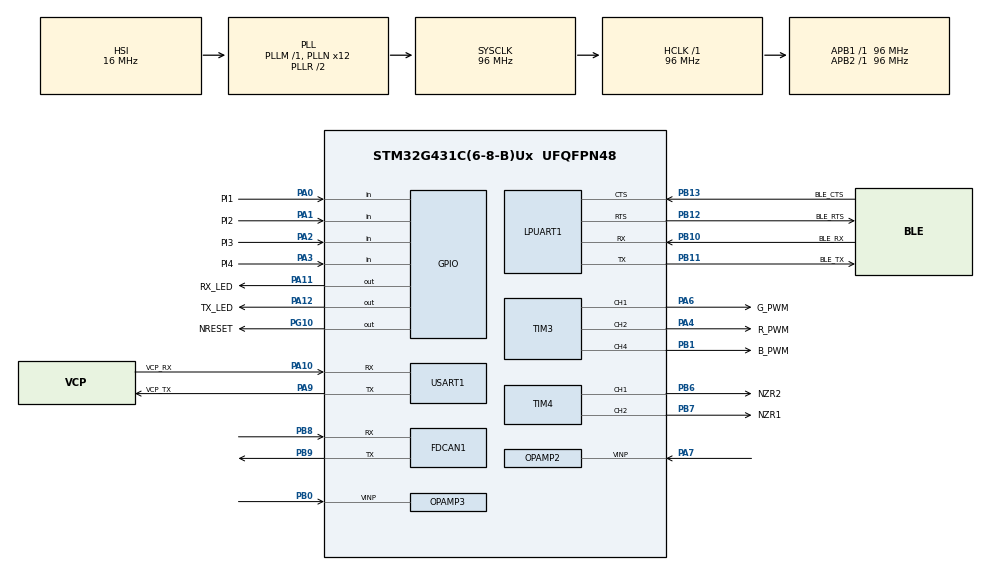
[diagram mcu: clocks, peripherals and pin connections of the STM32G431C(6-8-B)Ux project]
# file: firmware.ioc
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ADC2.Channel-0\#ChannelRegularConversion=ADC_CHANNEL_VOPAMP2
ADC2.NbrOfConversionFlag=1
ADC2.OffsetNumber-0\#ChannelRegularConversion=ADC_OFFSET_NONE
ADC2.Rank-0\#ChannelRegularConversion=1
ADC2.SamplingTime-0\#ChannelRegularConversion=ADC_SAMPLETIME_2CYCLES_5
Mcu.Family=STM32G4
Mcu.Name=STM32G431C(6-8-B)Ux
Mcu.Package=UFQFPN48
NVIC.PriorityGroup=NVIC_PRIORITYGROUP_4
NVIC.TIM1_UP_TIM16_IRQn=true\:0\:0\:false\:false\:true\:false\:true\:true
NVIC.TimeBase=TIM1_UP_TIM16_IRQn
NVIC.TimeBaseIP=TIM1
PA0.GPIO_Label=PI1
PA0.Signal=GPIO_Input
PA1.GPIO_Label=PI2
PA1.Signal=GPIO_Input
PA10.GPIO_Label=VCP_RX
PA10.Mode=Asynchronous
PA10.Signal=USART1_RX
PA11.GPIO_Label=RX_LED
PA11.Signal=GPIO_Output
PA12.GPIO_Label=TX_LED
PA12.Signal=GPIO_Output
PA13.Mode=JTAG_5_pins
PA13.Signal=SYS_JTMS-SWDIO
PA14.Mode=JTAG_5_pins
PA14.Signal=SYS_JTCK-SWCLK
PA15.Mode=JTAG_5_pins
PA15.Signal=SYS_JTDI
PA2.GPIO_Label=PI3
PA2.Signal=GPIO_Input
PA3.GPIO_Label=PI4
PA3.Signal=GPIO_Input
PA4.GPIO_Label=R_PWM
PA4.Signal=S_TIM3_CH2
PA6.GPIO_Label=G_PWM
PA6.Signal=S_TIM3_CH1
PA7.Mode=Follower_Internally_Connected
PA7.Signal=OPAMP2_VINP
PA9.GPIO_Label=VCP_TX
PA9.Mode=Asynchronous
PA9.Signal=USART1_TX
PB0.Mode=Follower_Internally_Connected
PB0.Signal=OPAMP3_VINP
PB1.GPIO_Label=B_PWM
PB1.Signal=S_TIM3_CH4
PB10.GPIO_Label=BLE_RX
PB10.Mode=Asynchronous
PB10.Signal=LPUART1_RX
PB11.GPIO_Label=BLE_TX
PB11.Mode=Asynchronous
PB11.Signal=LPUART1_TX
PB12.GPIO_Label=BLE_RTS
PB12.Mode=CTS_RTS
PB12.Signal=LPUART1_RTS
PB13.GPIO_Label=BLE_CTS
PB13.Mode=CTS_RTS
PB13.Signal=LPUART1_CTS
PB3.Mode=JTAG_5_pins
PB3.Signal=SYS_JTDO-SWO
PB4.Mode=JTAG_5_pins
PB4.Signal=SYS_JTRST
PB6.GPIO_Label=NZR2
PB6.Signal=S_TIM4_CH1
PB7.GPIO_Label=NZR1
PB7.Signal=S_TIM4_CH2
PB8-BOOT0.Mode=FDCAN_Activate
PB8-BOOT0.Signal=FDCAN1_RX
PB9.Mode=FDCAN_Activate
PB9.Signal=FDCAN1_TX
PC14-OSC32_IN.Mode=LSE-External-Oscillator
PC14-OSC32_IN.Signal=RCC_OSC32_IN
PC15-OSC32_OUT.Mode=LSE-External-Oscillator
PC15-OSC32_OUT.Signal=RCC_OSC32_OUT
PF0-OSC_IN.Mode=HSE-External-Oscillator
PF0-OSC_IN.Signal=RCC_OSC_IN
PF1-OSC_OUT.Mode=HSE-External-Oscillator
PF1-OSC_OUT.Signal=RCC_OSC_OUT
PG10-NRST.GPIO_Label=NRESET
PG10-NRST.Signal=GPIO_Output
ProjectManager.HeapSize=0x200
ProjectManager.StackSize=0x400
ProjectManager.TargetToolchain=Makefile
RCC.ADC12Freq_Value=96000000
RCC.AHBFreq_Value=96000000
RCC.APB1Freq_Value=96000000
RCC.APB1TimFreq_Value=96000000
RCC.APB2Freq_Value=96000000
RCC.APB2TimFreq_Value=96000000
RCC.CortexFreq_Value=96000000
RCC.EXTERNAL_CLOCK_VALUE=12288000
RCC.HCLKFreq_Value=96000000
RCC.HSE_VALUE=32000000
RCC.HSI48_VALUE=48000000
RCC.HSI_VALUE=16000000
RCC.PLLN=12
RCC.PLLQ=RCC_PLLQ_DIV4
RCC.SYSCLKFreq_VALUE=96000000
RCC.SYSCLKSource=RCC_SYSCLKSOURCE_PLLCLK
RCC.USBFreq_Value=48000000
RCC.VCOOutputFreq_Value=192000000
SH.S_TIM3_CH1.0=TIM3_CH1,PWM Generation1 CH1
SH.S_TIM3_CH2.0=TIM3_CH2,PWM Generation2 CH2
SH.S_TIM3_CH4.0=TIM3_CH4,PWM Generation4 CH4
SH.S_TIM4_CH1.0=TIM4_CH1,PWM Generation1 CH1
SH.S_TIM4_CH2.0=TIM4_CH2,PWM Generation2 CH2
TIM3.Channel-PWM\ Generation1\ CH1=TIM_CHANNEL_1
TIM3.Channel-PWM\ Generation2\ CH2=TIM_CHANNEL_2
TIM3.Channel-PWM\ Generation4\ CH4=TIM_CHANNEL_4
TIM4.Channel-PWM\ Generation1\ CH1=TIM_CHANNEL_1
TIM4.Channel-PWM\ Generation2\ CH2=TIM_CHANNEL_2
USART1.VirtualMode-Asynchronous=VM_ASYNC
VP_ADC2_OPAMP_INTERNAL2.Mode=IN-OPAMP2
VP_ADC2_OPAMP_INTERNAL3.Mode=IN-OPAMP3
VP_SYS_VS_DBSignals.Mode=DisableDeadBatterySignals
VP_SYS_VS_tim1.Mode=TIM1
board=custom

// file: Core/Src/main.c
/* USER CODE BEGIN Header */
/**
  ******************************************************************************
  * @file           : main.c
  * @brief          : Main program body
  ******************************************************************************
  * @attention
  *
  * <h2><center>&copy; Copyright (c) 2023 STMicroelectronics.
  * All rights reserved.</center></h2>
  *
  * This software component is licensed by ST under BSD 3-Clause license,
  * the "License"; You may not use this file except in compliance with the
  * License. You may obtain a copy of the License at:
  *                        opensource.org/licenses/BSD-3-Clause
  *
  ******************************************************************************
  */
/* USER CODE END Header */
#include "main.h"

/* USER CODE BEGIN Includes */
// #include "port.h"
/* USER CODE END Includes */

ADC_HandleTypeDef hadc2;

FDCAN_HandleTypeDef hfdcan1;

UART_HandleTypeDef hlpuart1;
UART_HandleTypeDef huart1;

OPAMP_HandleTypeDef hopamp2;
OPAMP_HandleTypeDef hopamp3;

TIM_HandleTypeDef htim3;
TIM_HandleTypeDef htim4;

/* USER CODE BEGIN PV */
void btstack_port(void);
/* USER CODE END PV */

void SystemClock_Config(void);
static void MX_GPIO_Init(void);
static void MX_FDCAN1_Init(void);
static void MX_LPUART1_UART_Init(void);
static void MX_USART1_UART_Init(void);
static void MX_TIM3_Init(void);
static void MX_ADC2_Init(void);
static void MX_OPAMP2_Init(void);
static void MX_OPAMP3_Init(void);
static void MX_TIM4_Init(void);

/* USER CODE BEGIN 0 */

#define RGB_LEN (24 * 10)
#define numberofpixels 10
#define bytesperpixel 3
#define bitHightimercount 58
#define bitLowtimercount 22

// #define bitHightimercount 120
// #define bitLowtimercount 30

uint32_t loadArrayOnePixel(uint8_t R, uint8_t G, uint8_t B,
		uint8_t *buffer, //address of our buffer
		uint8_t pixelnumber //pixel index inside buffer
		) {
	if(pixelnumber>numberofpixels){return -1;}//in case we mess up

	for (uint32_t i = 0; i < bytesperpixel * 8; ++i) { //we need to store every bit

		if (i < 8) { //this means first byte R
			if (R & (0x80 >> i)) { //this is a mask for reading every bit inside the byte R
				buffer[i + pixelnumber * bytesperpixel * 8] = bitHightimercount;
			} else {
				buffer[i + pixelnumber * bytesperpixel * 8] = bitLowtimercount;
			}
		}

		if ((i >= 8) & (i < 16)) { //this means second byte G
			if (G & (0x80 >> (i - 8))) {
				buffer[i + pixelnumber * bytesperpixel * 8] = bitHightimercount;
			} else {
				buffer[i + pixelnumber * bytesperpixel * 8] = bitLowtimercount;
			}
		}

		if ((i >= 16) & (i < 24)) { //this means third byte B
			if (B & (0x80 >> (i - 16))) {
				buffer[i + pixelnumber * bytesperpixel * 8] = bitHightimercount;
			} else {
				buffer[i + pixelnumber * bytesperpixel * 8] = bitLowtimercount;
			}
		}

	}
	return 1;
}

/* USER CODE END 0 */

int main(void)
{

  /* MCU Configuration--------------------------------------------------------*/

  /* Reset of all peripherals, Initializes the Flash interface and the Systick. */
  HAL_Init();

  /* Configure the system clock */
  SystemClock_Config();

  /* Initialize all configured peripherals */
  MX_GPIO_Init();
  MX_FDCAN1_Init();
  MX_LPUART1_UART_Init();
  MX_USART1_UART_Init();
  MX_TIM3_Init();
  MX_ADC2_Init();
  MX_OPAMP2_Init();
  MX_OPAMP3_Init();
  MX_TIM4_Init();
  /* USER CODE BEGIN 2 */
  // TIM3->CCR1=77; // 64%
  // TIM3->CCR1=38; // 32%
  /*
  uint8_t rgb[RGB_LEN+1] = {
    // 1
    58, 58, 58, 58, 58, 58, 58, 58,
    22, 22, 22, 22, 22, 22, 22, 22,
    22, 22, 22, 22, 22, 22, 22, 22,
    // 2
    22, 22, 22, 22, 22, 22, 22, 22,
    58, 58, 58, 58, 58, 58, 58, 58,
    22, 22, 22, 22, 22, 22, 22, 22,
    // 3
    22, 22, 22, 22, 22, 22, 22, 22,
    22, 22, 22, 22, 22, 22, 22, 22,
    58, 58, 58, 58, 58, 58, 58, 58,
    // 4
    58, 58, 58, 58, 58, 58, 58, 58,
    22, 22, 22, 22, 22, 22, 22, 22,
    22, 22, 22, 22, 22, 22, 22, 22,
    // 5
    22, 22, 22, 22, 22, 22, 22, 22,
    58, 58, 58, 58, 58, 58, 58, 58,
    22, 22, 22, 22, 22, 22, 22, 22,
    // 6
    22, 22, 22, 22, 22, 22, 22, 22,
    22, 22, 22, 22, 22, 22, 22, 22,
    58, 58, 58, 58, 58, 58, 58, 58,
    // 7
    58, 58, 58, 58, 58, 58, 58, 58,
    22, 22, 22, 22, 22, 22, 22, 22,
    22, 22, 22, 22, 22, 22, 22, 22,
    // 8
    22, 22, 22, 22, 22, 22, 22, 22,
    58, 58, 58, 58, 58, 58, 58, 58,
    22, 22, 22, 22, 22, 22, 22, 22,
    // 9
    22, 22, 22, 22, 22, 22, 22, 22,
    22, 22, 22, 22, 22, 22, 22, 22,
    58, 58, 58, 58, 58, 58, 58, 58,
    // 10
    58, 58, 58, 58, 58, 58, 58, 58,
    22, 22, 22, 22, 22, 22, 22, 22,
    22, 22, 22, 22, 22, 22, 22, 22,
    0
  };
  */
  uint8_t rgb[RGB_LEN + 1] = {0};
  for(int i = 0; i < RGB_LEN; i++) {
    rgb[i] = bitHightimercount;
  }
  rgb[RGB_LEN] = 0;
  // for (int i = 0; i < numberofpixels; ++i) {
  //     loadArrayOnePixel(0,0,255, &rgb, i);
  // }

	uint8_t counter=0;
	uint8_t flag=0;

  while(1) {
    HAL_TIM_PWM_Stop_DMA(&htim3, TIM_CHANNEL_1);
    for (int i = 0; i < numberofpixels; ++i) {
        loadArrayOnePixel(counter,0,counter, &rgb, i);
    }
    HAL_TIM_PWM_Start_DMA(&htim3, TIM_CHANNEL_1, rgb, sizeof(uint8_t) * RGB_LEN+1);

		if(counter==0xFF){flag=0;}

		if(counter==0x00){flag=1;}

		if(flag){
			counter++;
		}else{
			counter--;
		}

    HAL_Delay(10);
  }
  // port_main();
  entry();

  /* USER CODE END 2 */

  /* Infinite loop */
  while (1)
  {

  }
}

void SystemClock_Config(void)
{
  RCC_OscInitTypeDef RCC_OscInitStruct = {0};
  RCC_ClkInitTypeDef RCC_ClkInitStruct = {0};
  RCC_PeriphCLKInitTypeDef PeriphClkInit = {0};

  /** Configure the main internal regulator output voltage
  */
  HAL_PWREx_ControlVoltageScaling(PWR_REGULATOR_VOLTAGE_SCALE1);
  /** Initializes the RCC Oscillators according to the specified parameters
  * in the RCC_OscInitTypeDef structure.
  */
  RCC_OscInitStruct.OscillatorType = RCC_OSCILLATORTYPE_HSI;
  RCC_OscInitStruct.HSIState = RCC_HSI_ON;
  RCC_OscInitStruct.HSICalibrationValue = RCC_HSICALIBRATION_DEFAULT;
  RCC_OscInitStruct.PLL.PLLState = RCC_PLL_ON;
  RCC_OscInitStruct.PLL.PLLSource = RCC_PLLSOURCE_HSI;
  RCC_OscInitStruct.PLL.PLLM = RCC_PLLM_DIV1;
  RCC_OscInitStruct.PLL.PLLN = 12;
  RCC_OscInitStruct.PLL.PLLP = RCC_PLLP_DIV2;
  RCC_OscInitStruct.PLL.PLLQ = RCC_PLLQ_DIV4;
  RCC_OscInitStruct.PLL.PLLR = RCC_PLLR_DIV2;
  if (HAL_RCC_OscConfig(&RCC_OscInitStruct) != HAL_OK)
  {
    Error_Handler();
  }
  /** Initializes the CPU, AHB and APB buses clocks
  */
  RCC_ClkInitStruct.ClockType = RCC_CLOCKTYPE_HCLK|RCC_CLOCKTYPE_SYSCLK
                              |RCC_CLOCKTYPE_PCLK1|RCC_CLOCKTYPE_PCLK2;
  RCC_ClkInitStruct.SYSCLKSource = RCC_SYSCLKSOURCE_PLLCLK;
  RCC_ClkInitStruct.AHBCLKDivider = RCC_SYSCLK_DIV1;
  RCC_ClkInitStruct.APB1CLKDivider = RCC_HCLK_DIV1;
  RCC_ClkInitStruct.APB2CLKDivider = RCC_HCLK_DIV1;

  if (HAL_RCC_ClockConfig(&RCC_ClkInitStruct, FLASH_LATENCY_2) != HAL_OK)
  {
    Error_Handler();
  }
  /** Initializes the peripherals clocks
  */
  PeriphClkInit.PeriphClockSelection = RCC_PERIPHCLK_USART1|RCC_PERIPHCLK_LPUART1
                              |RCC_PERIPHCLK_ADC12|RCC_PERIPHCLK_FDCAN;
  PeriphClkInit.Usart1ClockSelection = RCC_USART1CLKSOURCE_PCLK2;
  PeriphClkInit.Lpuart1ClockSelection = RCC_LPUART1CLKSOURCE_PCLK1;
  PeriphClkInit.FdcanClockSelection = RCC_FDCANCLKSOURCE_PCLK1;
  PeriphClkInit.Adc12ClockSelection = RCC_ADC12CLKSOURCE_SYSCLK;
  if (HAL_RCCEx_PeriphCLKConfig(&PeriphClkInit) != HAL_OK)
  {
    Error_Handler();
  }
}

static void MX_ADC2_Init(void)
{

  ADC_ChannelConfTypeDef sConfig = {0};

  /** Common config
  */
  hadc2.Instance = ADC2;
  hadc2.Init.ClockPrescaler = ADC_CLOCK_SYNC_PCLK_DIV2;
  hadc2.Init.Resolution = ADC_RESOLUTION_12B;
  hadc2.Init.DataAlign = ADC_DATAALIGN_RIGHT;
  hadc2.Init.GainCompensation = 0;
  hadc2.Init.ScanConvMode = ADC_SCAN_DISABLE;
  hadc2.Init.EOCSelection = ADC_EOC_SINGLE_CONV;
  hadc2.Init.LowPowerAutoWait = DISABLE;
  hadc2.Init.ContinuousConvMode = DISABLE;
  hadc2.Init.NbrOfConversion = 1;
  hadc2.Init.DiscontinuousConvMode = DISABLE;
  hadc2.Init.ExternalTrigConv = ADC_SOFTWARE_START;
  hadc2.Init.ExternalTrigConvEdge = ADC_EXTERNALTRIGCONVEDGE_NONE;
  hadc2.Init.DMAContinuousRequests = DISABLE;
  hadc2.Init.Overrun = ADC_OVR_DATA_PRESERVED;
  hadc2.Init.OversamplingMode = DISABLE;
  if (HAL_ADC_Init(&hadc2) != HAL_OK)
  {
    Error_Handler();
  }
  /** Configure Regular Channel
  */
  sConfig.Channel = ADC_CHANNEL_VOPAMP2;
  sConfig.Rank = ADC_REGULAR_RANK_1;
  sConfig.SamplingTime = ADC_SAMPLETIME_2CYCLES_5;
  sConfig.SingleDiff = ADC_SINGLE_ENDED;
  sConfig.OffsetNumber = ADC_OFFSET_NONE;
  sConfig.Offset = 0;
  if (HAL_ADC_ConfigChannel(&hadc2, &sConfig) != HAL_OK)
  {
    Error_Handler();
  }

}

static void MX_FDCAN1_Init(void)
{

  hfdcan1.Instance = FDCAN1;
  hfdcan1.Init.ClockDivider = FDCAN_CLOCK_DIV1;
  hfdcan1.Init.FrameFormat = FDCAN_FRAME_CLASSIC;
  hfdcan1.Init.Mode = FDCAN_MODE_NORMAL;
  hfdcan1.Init.AutoRetransmission = DISABLE;
  hfdcan1.Init.TransmitPause = DISABLE;
  hfdcan1.Init.ProtocolException = DISABLE;
  hfdcan1.Init.NominalPrescaler = 1;
  hfdcan1.Init.NominalSyncJumpWidth = 1;
  hfdcan1.Init.NominalTimeSeg1 = 2;
  hfdcan1.Init.NominalTimeSeg2 = 2;
  hfdcan1.Init.DataPrescaler = 1;
  hfdcan1.Init.DataSyncJumpWidth = 1;
  hfdcan1.Init.DataTimeSeg1 = 1;
  hfdcan1.Init.DataTimeSeg2 = 1;
  hfdcan1.Init.StdFiltersNbr = 0;
  hfdcan1.Init.ExtFiltersNbr = 0;
  hfdcan1.Init.TxFifoQueueMode = FDCAN_TX_FIFO_OPERATION;
  if (HAL_FDCAN_Init(&hfdcan1) != HAL_OK)
  {
    Error_Handler();
  }

}

static void MX_LPUART1_UART_Init(void)
{

  hlpuart1.Instance = LPUART1;
  hlpuart1.Init.BaudRate = 209700;
  hlpuart1.Init.WordLength = UART_WORDLENGTH_8B;
  hlpuart1.Init.StopBits = UART_STOPBITS_1;
  hlpuart1.Init.Parity = UART_PARITY_NONE;
  hlpuart1.Init.Mode = UART_MODE_TX_RX;
  hlpuart1.Init.HwFlowCtl = UART_HWCONTROL_RTS_CTS;
  hlpuart1.Init.OneBitSampling = UART_ONE_BIT_SAMPLE_DISABLE;
  hlpuart1.Init.ClockPrescaler = UART_PRESCALER_DIV1;
  hlpuart1.AdvancedInit.AdvFeatureInit = UART_ADVFEATURE_NO_INIT;
  if (HAL_UART_Init(&hlpuart1) != HAL_OK)
  {
    Error_Handler();
  }
  if (HAL_UARTEx_SetTxFifoThreshold(&hlpuart1, UART_TXFIFO_THRESHOLD_1_8) != HAL_OK)
  {
    Error_Handler();
  }
  if (HAL_UARTEx_SetRxFifoThreshold(&hlpuart1, UART_RXFIFO_THRESHOLD_1_8) != HAL_OK)
  {
    Error_Handler();
  }
  if (HAL_UARTEx_DisableFifoMode(&hlpuart1) != HAL_OK)
  {
    Error_Handler();
  }

}

static void MX_USART1_UART_Init(void)
{

  huart1.Instance = USART1;
  huart1.Init.BaudRate = 115200;
  huart1.Init.WordLength = UART_WORDLENGTH_8B;
  huart1.Init.StopBits = UART_STOPBITS_1;
  huart1.Init.Parity = UART_PARITY_NONE;
  huart1.Init.Mode = UART_MODE_TX_RX;
  huart1.Init.HwFlowCtl = UART_HWCONTROL_NONE;
  huart1.Init.OverSampling = UART_OVERSAMPLING_16;
  huart1.Init.OneBitSampling = UART_ONE_BIT_SAMPLE_DISABLE;
  huart1.Init.ClockPrescaler = UART_PRESCALER_DIV1;
  huart1.AdvancedInit.AdvFeatureInit = UART_ADVFEATURE_NO_INIT;
  if (HAL_UART_Init(&huart1) != HAL_OK)
  {
    Error_Handler();
  }
  if (HAL_UARTEx_SetTxFifoThreshold(&huart1, UART_TXFIFO_THRESHOLD_1_8) != HAL_OK)
  {
    Error_Handler();
  }
  if (HAL_UARTEx_SetRxFifoThreshold(&huart1, UART_RXFIFO_THRESHOLD_1_8) != HAL_OK)
  {
    Error_Handler();
  }
  if (HAL_UARTEx_DisableFifoMode(&huart1) != HAL_OK)
  {
    Error_Handler();
  }

}

static void MX_OPAMP2_Init(void)
{

  hopamp2.Instance = OPAMP2;
  hopamp2.Init.PowerMode = OPAMP_POWERMODE_NORMAL;
  hopamp2.Init.Mode = OPAMP_FOLLOWER_MODE;
  hopamp2.Init.NonInvertingInput = OPAMP_NONINVERTINGINPUT_IO0;
  hopamp2.Init.InternalOutput = ENABLE;
  hopamp2.Init.TimerControlledMuxmode = OPAMP_TIMERCONTROLLEDMUXMODE_DISABLE;
  hopamp2.Init.UserTrimming = OPAMP_TRIMMING_FACTORY;
  if (HAL_OPAMP_Init(&hopamp2) != HAL_OK)
  {
    Error_Handler();
  }

}

static void MX_OPAMP3_Init(void)
{

  hopamp3.Instance = OPAMP3;
  hopamp3.Init.PowerMode = OPAMP_POWERMODE_NORMAL;
  hopamp3.Init.Mode = OPAMP_FOLLOWER_MODE;
  hopamp3.Init.NonInvertingInput = OPAMP_NONINVERTINGINPUT_IO0;
  hopamp3.Init.InternalOutput = ENABLE;
  hopamp3.Init.TimerControlledMuxmode = OPAMP_TIMERCONTROLLEDMUXMODE_DISABLE;
  hopamp3.Init.UserTrimming = OPAMP_TRIMMING_FACTORY;
  if (HAL_OPAMP_Init(&hopamp3) != HAL_OK)
  {
    Error_Handler();
  }

}

static void MX_TIM3_Init(void)
{

  TIM_MasterConfigTypeDef sMasterConfig = {0};
  TIM_OC_InitTypeDef sConfigOC = {0};

  htim3.Instance = TIM3;
  htim3.Init.Prescaler = 0;
  htim3.Init.CounterMode = TIM_COUNTERMODE_UP;
  htim3.Init.Period = 65535;
  htim3.Init.ClockDivision = TIM_CLOCKDIVISION_DIV1;
  htim3.Init.AutoReloadPreload = TIM_AUTORELOAD_PRELOAD_DISABLE;
  if (HAL_TIM_PWM_Init(&htim3) != HAL_OK)
  {
    Error_Handler();
  }
  sMasterConfig.MasterOutputTrigger = TIM_TRGO_RESET;
  sMasterConfig.MasterSlaveMode = TIM_MASTERSLAVEMODE_DISABLE;
  if (HAL_TIMEx_MasterConfigSynchronization(&htim3, &sMasterConfig) != HAL_OK)
  {
    Error_Handler();
  }
  sConfigOC.OCMode = TIM_OCMODE_PWM1;
  sConfigOC.Pulse = 0;
  sConfigOC.OCPolarity = TIM_OCPOLARITY_HIGH;
  sConfigOC.OCFastMode = TIM_OCFAST_DISABLE;
  if (HAL_TIM_PWM_ConfigChannel(&htim3, &sConfigOC, TIM_CHANNEL_1) != HAL_OK)
  {
    Error_Handler();
  }
  sConfigOC.Pulse = 0;
  if (HAL_TIM_PWM_ConfigChannel(&htim3, &sConfigOC, TIM_CHANNEL_2) != HAL_OK)
  {
    Error_Handler();
  }
  sConfigOC.Pulse = 0;
  if (HAL_TIM_PWM_ConfigChannel(&htim3, &sConfigOC, TIM_CHANNEL_4) != HAL_OK)
  {
    Error_Handler();
  }
  HAL_TIM_MspPostInit(&htim3);

}

static void MX_TIM4_Init(void)
{

  TIM_MasterConfigTypeDef sMasterConfig = {0};
  TIM_OC_InitTypeDef sConfigOC = {0};

  htim4.Instance = TIM4;
  htim4.Init.Prescaler = 0;
  htim4.Init.CounterMode = TIM_COUNTERMODE_UP;
  htim4.Init.Period = 65535;
  htim4.Init.ClockDivision = TIM_CLOCKDIVISION_DIV1;
  htim4.Init.AutoReloadPreload = TIM_AUTORELOAD_PRELOAD_DISABLE;
  if (HAL_TIM_PWM_Init(&htim4) != HAL_OK)
  {
    Error_Handler();
  }
  sMasterConfig.MasterOutputTrigger = TIM_TRGO_RESET;
  sMasterConfig.MasterSlaveMode = TIM_MASTERSLAVEMODE_DISABLE;
  if (HAL_TIMEx_MasterConfigSynchronization(&htim4, &sMasterConfig) != HAL_OK)
  {
    Error_Handler();
  }
  sConfigOC.OCMode = TIM_OCMODE_PWM1;
  sConfigOC.Pulse = 0;
  sConfigOC.OCPolarity = TIM_OCPOLARITY_HIGH;
  sConfigOC.OCFastMode = TIM_OCFAST_DISABLE;
  if (HAL_TIM_PWM_ConfigChannel(&htim4, &sConfigOC, TIM_CHANNEL_1) != HAL_OK)
  {
    Error_Handler();
  }
  sConfigOC.Pulse = 0;
  if (HAL_TIM_PWM_ConfigChannel(&htim4, &sConfigOC, TIM_CHANNEL_2) != HAL_OK)
  {
    Error_Handler();
  }
  HAL_TIM_MspPostInit(&htim4);

}

static void MX_GPIO_Init(void)
{
  GPIO_InitTypeDef GPIO_InitStruct = {0};

  /* GPIO Ports Clock Enable */
  __HAL_RCC_GPIOC_CLK_ENABLE();
  __HAL_RCC_GPIOF_CLK_ENABLE();
  __HAL_RCC_GPIOG_CLK_ENABLE();
  __HAL_RCC_GPIOA_CLK_ENABLE();
  __HAL_RCC_GPIOB_CLK_ENABLE();

  /*Configure GPIO pin Output Level */
  HAL_GPIO_WritePin(NRESET_GPIO_Port, NRESET_Pin, GPIO_PIN_RESET);

  /*Configure GPIO pin Output Level */
  HAL_GPIO_WritePin(GPIOA, RX_LED_Pin|TX_LED_Pin, GPIO_PIN_RESET);

  /*Configure GPIO pin : NRESET_Pin */
  GPIO_InitStruct.Pin = NRESET_Pin;
  GPIO_InitStruct.Mode = GPIO_MODE_OUTPUT_PP;
  GPIO_InitStruct.Pull = GPIO_NOPULL;
  GPIO_InitStruct.Speed = GPIO_SPEED_FREQ_LOW;
  HAL_GPIO_Init(NRESET_GPIO_Port, &GPIO_InitStruct);

  /*Configure GPIO pins : PI1_Pin PI2_Pin PI3_Pin PI4_Pin */
  GPIO_InitStruct.Pin = PI1_Pin|PI2_Pin|PI3_Pin|PI4_Pin;
  GPIO_InitStruct.Mode = GPIO_MODE_INPUT;
  GPIO_InitStruct.Pull = GPIO_NOPULL;
  HAL_GPIO_Init(GPIOA, &GPIO_InitStruct);

  /*Configure GPIO pins : RX_LED_Pin TX_LED_Pin */
  GPIO_InitStruct.Pin = RX_LED_Pin|TX_LED_Pin;
  GPIO_InitStruct.Mode = GPIO_MODE_OUTPUT_PP;
  GPIO_InitStruct.Pull = GPIO_NOPULL;
  GPIO_InitStruct.Speed = GPIO_SPEED_FREQ_LOW;
  HAL_GPIO_Init(GPIOA, &GPIO_InitStruct);

}

 /**
  * @brief  Period elapsed callback in non blocking mode
  * @note   This function is called  when TIM1 interrupt took place, inside
  * HAL_TIM_IRQHandler(). It makes a direct call to HAL_IncTick() to increment
  * a global variable "uwTick" used as application time base.
  * @param  htim : TIM handle
  * @retval None
  */
void HAL_TIM_PeriodElapsedCallback(TIM_HandleTypeDef *htim)
{
  if (htim->Instance == TIM1) {
    HAL_IncTick();
  }
}

void Error_Handler(void)
{
  /* USER CODE BEGIN Error_Handler_Debug */
  /* User can add his own implementation to report the HAL error return state */
  __disable_irq();
  entry_error_handler();
  /* USER CODE END Error_Handler_Debug */
}

/************************ (C) COPYRIGHT STMicroelectronics *****END OF FILE****/
